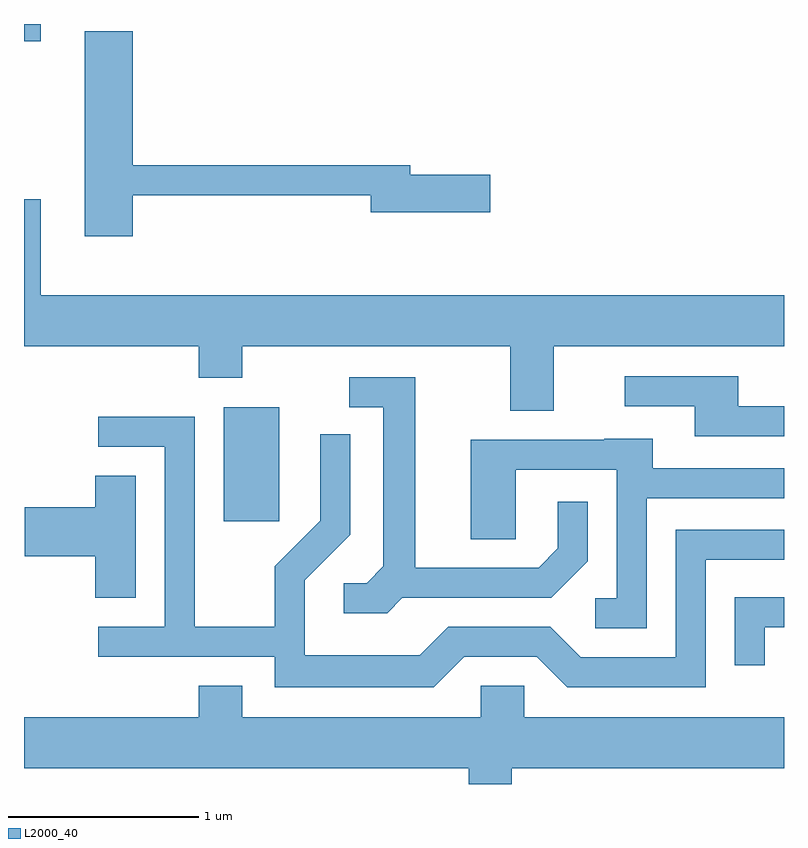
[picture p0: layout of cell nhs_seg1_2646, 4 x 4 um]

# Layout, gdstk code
import gdstk
lib = gdstk.Library(unit=1e-6, precision=1e-09)
def R(c, l, rs):  # rectangles x0, y0, x1, y1
    for r in rs: c.add(gdstk.rectangle(r[:2], r[2:], *l))
def P(c, l, *ps):  # polygons
    for p in ps: c.add(gdstk.Polygon(p, *l))
L2000_40 = (2000, 40)

nhs_seg1_2646 = lib.new_cell('nhs_seg1_2646')
R(nhs_seg1_2646, L2000_40, [(266.661,903.096,266.954,903.694), (265.611,905.621,265.699,905.712)])
P(nhs_seg1_2646, L2000_40, [(266.184,904.811),(267.436,904.811),(267.436,904.721),(268.064,904.721),(268.064,904.919),(267.644,904.919),(267.644,904.969),(266.184,904.969),(266.184,905.674),(265.931,905.674),(265.931,904.596),(266.184,904.596)],
  [(268.399,904.016),(269.611,904.016),(269.611,904.284),(265.699,904.284),(265.699,904.789),(265.611,904.789),(265.611,904.016),(266.531,904.016),(266.531,903.851),(266.759,903.851),(266.759,904.016),(268.171,904.016),(268.171,903.676),(268.399,903.676)],
  [(269.611,903.699),(269.369,903.699),(269.369,903.859),(268.773,903.859),(268.773,903.701),(269.141,903.701),(269.141,903.541),(269.611,903.541)],
  [(267.602,902.691),(268.387,902.691),(268.579,902.884),(268.579,903.198),(268.421,903.198),(268.421,902.952),(268.319,902.849),(267.669,902.849),(267.669,903.854),(267.323,903.854),(267.323,903.696),(267.501,903.696),(267.501,902.857),(267.414,902.769),(267.293,902.769),(267.293,902.611),(267.522,902.611)],
  [(267.927,902.381),(268.309,902.381),(268.469,902.221),(269.199,902.221),(269.199,902.891),(269.611,902.891),(269.611,903.049),(269.041,903.049),(269.041,902.379),(268.542,902.379),(268.382,902.539),(267.844,902.539),(267.694,902.389),(267.089,902.389),(267.089,902.784),(267.329,903.024),(267.329,903.553),(267.171,903.553),(267.171,903.097),(266.931,902.857),(266.931,902.539),(266.509,902.539),(266.509,903.644),(266.003,903.644),(266.003,903.486),(266.351,903.486),(266.351,902.539),(266.003,902.539),(266.003,902.381),(266.931,902.381),(266.931,902.221),(267.767,902.221)],
  [(268.889,903.216),(269.611,903.216),(269.611,903.374),(268.919,903.374),(268.919,903.529),(268.665,903.529),(268.665,903.524),(267.961,903.524),(267.961,903.001),(268.199,903.001),(268.199,903.366),(268.731,903.366),(268.731,902.689),(268.618,902.689),(268.618,902.531),(268.889,902.531)],
  [(266.199,903.334),(265.986,903.334),(265.986,903.169),(265.616,903.169),(265.616,902.911),(265.986,902.911),(265.986,902.691),(266.199,902.691)],
  [(269.509,902.536),(269.611,902.536),(269.611,902.694),(269.351,902.694),(269.351,902.338),(269.509,902.338)],
  [(268.179,901.796),(269.611,901.796),(269.611,902.064),(268.244,902.064),(268.244,902.229),(268.016,902.229),(268.016,902.064),(266.759,902.064),(266.759,902.229),(266.531,902.229),(266.531,902.064),(265.611,902.064),(265.611,901.796),(267.951,901.796),(267.951,901.712),(268.179,901.712)])

lib.write_gds('nhs_seg1_2646.gds')
